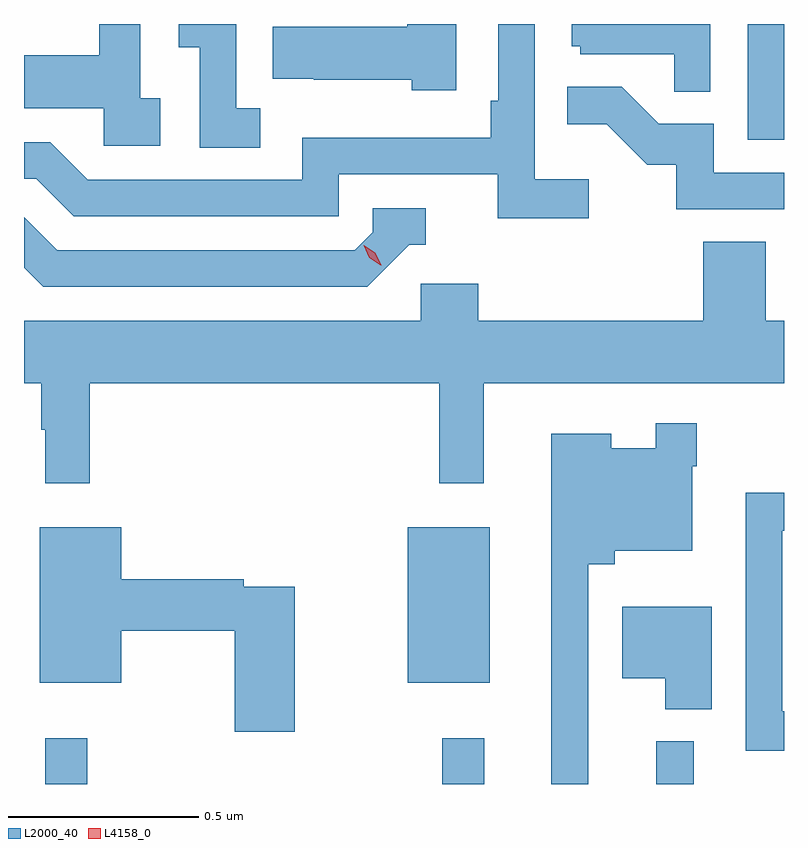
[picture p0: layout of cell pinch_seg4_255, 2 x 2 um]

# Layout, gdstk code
import gdstk
lib = gdstk.Library(unit=1e-6, precision=1e-09)
def R(c, l, rs):  # rectangles x0, y0, x1, y1
    for r in rs: c.add(gdstk.rectangle(r[:2], r[2:], *l))
def P(c, l, *ps):  # polygons
    for p in ps: c.add(gdstk.Polygon(p, *l))
L2000_40 = (2000, 40)
L4158_0 = (4158, 0)

pinch_seg4_255 = lib.new_cell('pinch_seg4_255')
R(pinch_seg4_255, L2000_40, [(898.778,825.069,898.888,825.19), (899.823,825.069,899.933,825.19), (900.386,825.069,900.484,825.181), (899.732,825.335,899.947,825.745), (900.626,826.764,900.722,827.069)])
P(pinch_seg4_255, L2000_40, [(899.344,826.847),(899.28,826.847),(899.28,827.069),(899.129,827.069),(899.129,827.008),(899.184,827.008),(899.184,826.744),(899.344,826.744)],
  [(900.208,826.66),(900.066,826.66),(900.066,827.069),(899.97,827.069),(899.97,826.867),(899.95,826.867),(899.95,826.77),(899.454,826.77),(899.454,826.659),(898.89,826.659),(898.791,826.758),(898.722,826.758),(898.722,826.662),(898.754,826.662),(898.853,826.563),(899.55,826.563),(899.55,826.674),(899.969,826.674),(899.969,826.558),(900.208,826.558)],
  [(899.08,826.874),(899.028,826.874),(899.028,827.069),(898.92,827.069),(898.92,826.987),(898.722,826.987),(898.722,826.847),(898.932,826.847),(898.932,826.749),(899.08,826.749)],
  [(899.86,827.069),(899.731,827.069),(899.731,827.062),(899.377,827.062),(899.377,826.925),(899.485,826.925),(899.485,826.922),(899.742,826.922),(899.742,826.895),(899.86,826.895)],
  [(900.528,827.069),(900.164,827.069),(900.164,827.01),(900.186,827.01),(900.186,826.989),(900.433,826.989),(900.433,826.891),(900.528,826.891)],
  [(900.722,826.677),(900.537,826.677),(900.537,826.806),(900.393,826.806),(900.295,826.904),(900.151,826.904),(900.151,826.805),(900.255,826.805),(900.362,826.698),(900.439,826.698),(900.439,826.581),(900.722,826.581)],
  [(899.736,826.488),(899.779,826.488),(899.779,826.584),(899.64,826.584),(899.64,826.521),(899.592,826.473),(898.809,826.473),(898.722,826.56),(898.722,826.427),(898.772,826.377),(899.625,826.377)],
  [(898.895,826.124),(899.815,826.124),(899.815,825.861),(899.932,825.861),(899.932,826.124),(900.722,826.124),(900.722,826.288),(900.674,826.288),(900.674,826.496),(900.509,826.496),(900.509,826.288),(899.918,826.288),(899.918,826.386),(899.766,826.386),(899.766,826.288),(898.722,826.288),(898.722,826.124),(898.767,826.124),(898.767,826.001),(898.778,826.001),(898.778,825.861),(898.895,825.861)],
  [(900.207,825.647),(900.276,825.647),(900.276,825.683),(900.48,825.683),(900.48,825.905),(900.493,825.905),(900.493,826.018),(900.384,826.018),(900.384,825.952),(900.268,825.952),(900.268,825.991),(900.11,825.991),(900.11,825.069),(900.207,825.069)],
  [(900.722,825.261),(900.717,825.261),(900.717,825.735),(900.722,825.735),(900.722,825.836),(900.621,825.836),(900.621,825.156),(900.722,825.156)],
  [(899.434,825.588),(899.3,825.588),(899.3,825.608),(898.978,825.608),(898.978,825.745),(898.763,825.745),(898.763,825.335),(898.978,825.335),(898.978,825.472),(899.276,825.472),(899.276,825.207),(899.434,825.207)],
  [(900.532,825.535),(900.296,825.535),(900.296,825.347),(900.41,825.347),(900.41,825.266),(900.532,825.266)])
P(pinch_seg4_255, L4158_0, [(899.661,826.434),(899.631,826.454),(899.616,826.487),(899.616,826.487),(899.616,826.487),(899.646,826.467),(899.662,826.434),(899.662,826.434)])

lib.write_gds('pinch_seg4_255.gds')
